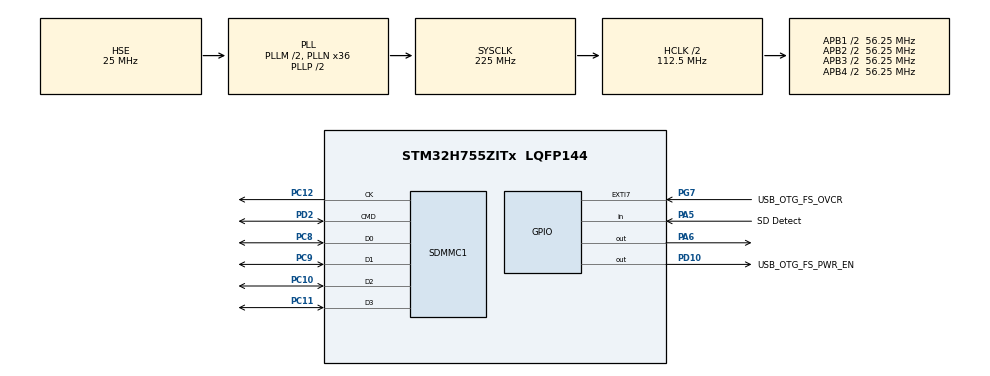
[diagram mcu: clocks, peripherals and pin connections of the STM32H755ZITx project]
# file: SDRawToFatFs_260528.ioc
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CORTEX_M7.AccessPermission-Cortex_Memory_Protection_Unit_Region0_Settings=MPU_REGION_FULL_ACCESS
CORTEX_M7.BaseAddress-Cortex_Memory_Protection_Unit_Region0_Settings=0x24000000
CORTEX_M7.CPU_DCache=Enabled
CORTEX_M7.CPU_ICache=Enabled
CORTEX_M7.DisableExec-Cortex_Memory_Protection_Unit_Region0_Settings=MPU_INSTRUCTION_ACCESS_DISABLE
CORTEX_M7.Enable-Cortex_Memory_Protection_Unit_Region0_Settings=MPU_REGION_ENABLE
CORTEX_M7.IsShareable-Cortex_Memory_Protection_Unit_Region0_Settings=MPU_ACCESS_SHAREABLE
CORTEX_M7.MPU_Control=MPU_HFNMI_PRIVDEF
CORTEX_M7.Size-Cortex_Memory_Protection_Unit_Region0_Settings=MPU_REGION_SIZE_64KB
CortexM4.IPs=FATFS_M4\:I,FREERTOS_M4\:I,IWDG2\:I,RCC,WWDG2\:I,DMA,BDMA,MDMA,NVIC2\:I,DEBUG,PDM2PCM_M4\:I,PWR,RESMGR_UTILITY,SYS_M4\:I,USB_DEVICE_M4\:I,USB_HOST_M4\:I,CORTEX_M4\:I,GPIO,OPENAMP_M4\:I,VREFBUF,NUCLEO-H755ZI-Q
CortexM7.IPs=FATFS_M7\:I,FREERTOS_M7\:I,IWDG1\:I,RCC\:I,WWDG1\:I,DMA\:I,BDMA\:I,MDMA\:I,NVIC1\:I,USB_OTG_FS\:I,USB_OTG_FS1\:I,SYS\:I,CORTEX_M7\:I,DEBUG\:I,PDM2PCM_M7\:I,PWR\:I,RESMGR_UTILITY\:I,USB_DEVICE_M7\:I,USB_HOST_M7\:I,GPIO\:I,OPENAMP_M7\:I,VREFBUF\:I,NUCLEO-H755ZI-Q\:I,SDMMC1\:I
CortexM7.Pins=PA5,PA6
FATFS.BSP.number=1
FATFS0.BSP.STBoard=false
FATFS0.BSP.api=Unknown
FATFS0.BSP.instance=PA5
FATFS0.BSP.ip=GPIO
FATFS0.BSP.mode=Input
FATFS0.BSP.name=Detect_SDIO
FATFS0.BSP.solution=PA5
FATFS_M7._USE_EXPAND=1
FATFS_M7._USE_FIND=1
FATFS_M7._USE_LFN=1
Mcu.Family=STM32H7
Mcu.Name=STM32H755ZITx
Mcu.Package=LQFP144
NUCLEO-H755ZI-Q.BUTTON=1
NUCLEO-H755ZI-Q.LD1=true
NUCLEO-H755ZI-Q.LD2=true
NUCLEO-H755ZI-Q.LD3=true
NUCLEO-H755ZI-Q.VCP=true
NVIC1.EXTI15_10_IRQn=true\:0\:0\:false\:false\:true\:false\:true\:true
NVIC1.PriorityGroup=NVIC_PRIORITYGROUP_4
NVIC1.SDMMC1_IRQn=true\:0\:0\:false\:false\:true\:true\:true\:true
NVIC2.PriorityGroup=NVIC_PRIORITYGROUP_4
PA1.PinAttribute=CortexM4
PA1.Signal=ETH_REF_CLK
PA11.PinAttribute=CortexM7
PA11.Signal=USB_OTG_FS_DM
PA12.PinAttribute=CortexM7
PA12.Signal=USB_OTG_FS_DP
PA2.PinAttribute=CortexM4
PA2.Signal=ETH_MDIO
PA5.GPIO_Label=SD Detect
PA5.PinAttribute=CortexM7
PA5.Signal=GPIO_Input
PA6.GPIO_Speed=GPIO_SPEED_FREQ_VERY_HIGH
PA6.PinAttribute=CortexM7
PA6.Signal=GPIO_Output
PA7.PinAttribute=CortexM4
PA7.Signal=ETH_CRS_DV
PA8.PinAttribute=CortexM7
PA8.Signal=USB_OTG_FS_SOF
PA9.PinAttribute=CortexM7
PA9.Signal=USB_OTG_FS_VBUS
PB13.PinAttribute=CortexM4
PB13.Signal=ETH_TXD1
PC1.PinAttribute=CortexM4
PC1.Signal=ETH_MDC
PC10.GPIO_PuPd=GPIO_PULLUP
PC10.Mode=SD_4_bits_Wide_bus
PC10.PinAttribute=CortexM7
PC10.Signal=SDMMC1_D2
PC11.GPIO_PuPd=GPIO_PULLUP
PC11.Mode=SD_4_bits_Wide_bus
PC11.PinAttribute=CortexM7
PC11.Signal=SDMMC1_D3
PC12.GPIO_PuPd=GPIO_PULLUP
PC12.Mode=SD_4_bits_Wide_bus
PC12.PinAttribute=CortexM7
PC12.Signal=SDMMC1_CK
PC14-OSC32_IN\ (OSC32_IN).PinAttribute=Free
PC14-OSC32_IN\ (OSC32_IN).Signal=RCC_OSC32_IN
PC15-OSC32_OUT\ (OSC32_OUT).PinAttribute=Free
PC15-OSC32_OUT\ (OSC32_OUT).Signal=RCC_OSC32_OUT
PC4.PinAttribute=CortexM4
PC4.Signal=ETH_RXD0
PC5.PinAttribute=CortexM4
PC5.Signal=ETH_RXD1
PC8.GPIO_PuPd=GPIO_PULLUP
PC8.Mode=SD_4_bits_Wide_bus
PC8.PinAttribute=CortexM7
PC8.Signal=SDMMC1_D0
PC9.GPIO_PuPd=GPIO_PULLUP
PC9.Mode=SD_4_bits_Wide_bus
PC9.PinAttribute=CortexM7
PC9.Signal=SDMMC1_D1
PD10.GPIO_Label=USB_OTG_FS_PWR_EN
PD10.PinAttribute=Free
PD10.Signal=GPIO_Output
PD2.GPIO_PuPd=GPIO_PULLUP
PD2.Mode=SD_4_bits_Wide_bus
PD2.PinAttribute=CortexM7
PD2.Signal=SDMMC1_CMD
PD8.Signal=USART3_TX
PD9.Signal=USART3_RX
PG11.PinAttribute=CortexM4
PG11.Signal=ETH_TX_EN
PG13.PinAttribute=CortexM4
PG13.Signal=ETH_TXD0
PG7.GPIO_Label=USB_OTG_FS_OVCR
PG7.PinAttribute=Free
PG7.Signal=GPXTI7
PH0-OSC_IN\ (PH0).Mode=HSE-External-Clock-Source
PH0-OSC_IN\ (PH0).PinAttribute=Free
PH0-OSC_IN\ (PH0).Signal=RCC_OSC_IN
PH1-OSC_OUT\ (PH1).PinAttribute=Free
PH1-OSC_OUT\ (PH1).Signal=RCC_OSC_OUT
ProjectManager.HeapSize=M4-0x200,M7-0x400
ProjectManager.StackSize=M4-0x400,M7-0x1000
ProjectManager.TargetToolchain=STM32CubeIDE
RCC.ADCFreq_Value=50390625
RCC.APB1Freq_Value=56250000
RCC.APB2Freq_Value=56250000
RCC.APB3Freq_Value=56250000
RCC.APB4Freq_Value=56250000
RCC.CortexFreq_Value=225000000
RCC.D1PPRE=RCC_APB3_DIV2
RCC.D2PPRE1=RCC_APB1_DIV2
RCC.D2PPRE2=RCC_APB2_DIV2
RCC.D3PPRE=RCC_APB4_DIV2
RCC.DIVM1=2
RCC.DIVN1=36
RCC.DIVQ1=3
RCC.HCLKFreq_Value=112500000
RCC.HPRE=RCC_HCLK_DIV2
RCC.PLL2FRACN=0
RCC.PLL3FRACN=0
RCC.PLLFRACN=0
RCC.PLLSourceVirtual=RCC_PLLSOURCE_HSE
RCC.RCC_TIM_PRescaler_Selection=RCC_TIMPRES_DESACTIVATED
RCC.SYSCLKFreq_VALUE=225000000
RCC.SYSCLKSource=RCC_SYSCLKSOURCE_PLLCLK
RCC.SupplySource=PWR_DIRECT_SMPS_SUPPLY
RCC.USBFreq_Value=150000000
SDMMC1.ClockDiv=4
SDMMC1.HardwareFlowControl=SDMMC_HARDWARE_FLOW_CONTROL_ENABLE
VP_FATFS_M7_VS_SDIO.Mode=SDIO
VP_NUCLEO-H755ZI-Q_VS_BSP_COMMON.Mode=COMMON
VP_SYS_M4_VS_Systick.Mode=SysTick
board=NUCLEO-H755ZI-Q

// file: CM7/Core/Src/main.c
/* USER CODE BEGIN Header */
/**
  ******************************************************************************
  * @file           : main.c
  * @brief          : Main program body
  ******************************************************************************
  * @attention
  *
  * Copyright (c) 2026 STMicroelectronics.
  * All rights reserved.
  *
  * This software is licensed under terms that can be found in the LICENSE file
  * in the root directory of this software component.
  * If no LICENSE file comes with this software, it is provided AS-IS.
  *
  ******************************************************************************
  */
/* USER CODE END Header */
#include "main.h"
#include "fatfs.h"

/* USER CODE BEGIN Includes */
#include "ff.h"
#include <stdio.h>
#include <string.h>
/* USER CODE END Includes */

/* USER CODE BEGIN PD */

/* DUAL_CORE_BOOT_SYNC_SEQUENCE: Define for dual core boot synchronization    */
/*                             demonstration code based on hardware semaphore */
/* This define is present in both CM7/CM4 projects                            */
/* To comment when developping/debugging on a single core                     */
#define DUAL_CORE_BOOT_SYNC_SEQUENCE

#if defined(DUAL_CORE_BOOT_SYNC_SEQUENCE)
#ifndef HSEM_ID_0
#define HSEM_ID_0 (0U) /* HW semaphore 0*/
#endif
#endif /* DUAL_CORE_BOOT_SYNC_SEQUENCE */

/* USER CODE END PD */

COM_InitTypeDef BspCOMInit;

SD_HandleTypeDef hsd1;

/* USER CODE BEGIN PV */
#define BUFFER_SIZE_BYTES     (32 * 1024)

#define SD_BLOCK_SIZE         512
#define SD_BLOCK_COUNT        (BUFFER_SIZE_BYTES / SD_BLOCK_SIZE)

#define START_SECTOR          0x1000

#define CHUNKS_PER_FILE       64    // 生成 約 1.7MB 大小的檔案，檔案內容資料有 32768 筆資料

#define MAX_FILES_TO_GENERATE 5   // 控制： 最多生成幾個檔案 方便測試。  5 -> 產生5個檔案

#define PAYLOAD_SIZE        54

#define PAYLOAD_BUFFER_SIZE \
    (RECORD_COUNT * PAYLOAD_SIZE)

#define RECORD_COUNT   (BUFFER_SIZE_BYTES / sizeof(log_record_t))

typedef struct
{
    uint8_t payload[PAYLOAD_SIZE];

    uint16_t tail;

    uint32_t record_id;

    uint32_t file_id;

} log_record_t;

FIL MyFile;

__attribute__((section(".RAM_D1")))
__attribute__((aligned(32)))
log_record_t read_buffer[RECORD_COUNT];

/*
--------------------------------------------------
高速 FATFS write buffer
512 records × 54 bytes
= 27648 bytes
--------------------------------------------------
*/
__attribute__((section(".RAM_D1")))
__attribute__((aligned(32)))
uint8_t payload_buffer[PAYLOAD_BUFFER_SIZE];

uint32_t current_sector;

volatile uint8_t sd_read_done = 0;
volatile uint8_t sd_read_error = 0;

/* USER CODE END PV */

void SystemClock_Config(void);
static void MPU_Config(void);
static void MX_GPIO_Init(void);
static void MX_SDMMC1_SD_Init(void);

/* USER CODE BEGIN 0 */

/*
每個 chunk 檢查： 512 records 是否： 全部都是合法 record
只要有：  tail != 0xAA55
代表： segment 結束
這樣：
  可以自動停止
  不必固定 64
  不怕不完整資料
  不怕 SD card 中斷
  不怕 reboot
*/

uint8_t ValidateChunk(void)
{
    uint32_t i;

    for(i = 0; i < RECORD_COUNT; i++)
    {
        if(read_buffer[i].tail != 0xAA55)
        {
            return 0;
        }
    }

    return 1;
}

void GenerateFatFsFile(uint32_t file_id)
{
    UINT bw;

    char filename[64];

    uint32_t chunk;

	uint32_t i;

    uint32_t payload_offset;

    current_sector =
        START_SECTOR +
        (file_id * CHUNKS_PER_FILE * SD_BLOCK_COUNT);

    sprintf(filename,
            "LOG%04lu.TXT",
            file_id);

    //PA6 HIGH 開始量測：  Raw Data -> FATFS 檔案生成總時間
    HAL_GPIO_WritePin(GPIOA,
                      GPIO_PIN_6,
                      GPIO_PIN_SET);

    // 建立 FATFS 檔案
    if(f_open(&MyFile,
              filename,
              FA_CREATE_ALWAYS | FA_WRITE) != FR_OK)
    {
        BSP_LED_On(LED_RED);
        while(1);
    }

    // 開始讀取 Raw Data
    for(chunk = 0; chunk < CHUNKS_PER_FILE; chunk++)
    {
        //DMA Read 32KB
        sd_read_done = 0;
        sd_read_error = 0;

        if(HAL_SD_ReadBlocks_DMA(&hsd1,
                                (uint8_t*)read_buffer,
                                current_sector,
                                SD_BLOCK_COUNT) != HAL_OK)
        {
            BSP_LED_On(LED_RED);
            while(1);
        }

        //等待 DMA 完成
        while(sd_read_done == 0)
        {
            if(sd_read_error)
            {
                BSP_LED_On(LED_RED);

                while(1);
            }
            BSP_LED_On(LED_YELLOW);
        }
        BSP_LED_Off(LED_YELLOW);

        while(HAL_SD_GetCardState(&hsd1) != HAL_SD_CARD_TRANSFER)
        {
          BSP_LED_On(LED_GREEN);
        }
        BSP_LED_Off(LED_GREEN);// 綠燈不亮，表示 Raw Data 很快讀取完成

        // D-Cache invalidate
        SCB_InvalidateDCache_by_Addr(
            (uint32_t*)read_buffer,
            BUFFER_SIZE_BYTES
        );

		if(ValidateChunk() == 0)
        {
            break;
        }

		payload_offset = 0;

        for(i = 0; i < RECORD_COUNT; i++)
        {
            memcpy(&payload_buffer[payload_offset],
                   read_buffer[i].payload,
                   PAYLOAD_SIZE);

            payload_offset += PAYLOAD_SIZE;
        }

        if(f_write(&MyFile,
                  payload_buffer,
                  payload_offset,
                  &bw) != FR_OK)
        {
            BSP_LED_On(LED_RED);
            while(1);
        }

        // 下一段 Raw Sector
        current_sector += SD_BLOCK_COUNT;
    }

    //關閉檔案
    f_close(&MyFile);

    // PA6 LOW   檔案完成
    HAL_GPIO_WritePin(GPIOA,
                      GPIO_PIN_6,
                      GPIO_PIN_RESET);

}

/* USER CODE END 0 */

int main(void)
{

/* USER CODE BEGIN Boot_Mode_Sequence_0 */
#if defined(DUAL_CORE_BOOT_SYNC_SEQUENCE)
  int32_t timeout;
#endif /* DUAL_CORE_BOOT_SYNC_SEQUENCE */
/* USER CODE END Boot_Mode_Sequence_0 */

  /* MPU Configuration--------------------------------------------------------*/
  MPU_Config();

  /* Enable the CPU Cache */

  /* Enable I-Cache---------------------------------------------------------*/
  SCB_EnableICache();

  /* Enable D-Cache---------------------------------------------------------*/
  SCB_EnableDCache();

/* USER CODE BEGIN Boot_Mode_Sequence_1 */
#if defined(DUAL_CORE_BOOT_SYNC_SEQUENCE)
  /* Wait until CPU2 boots and enters in stop mode or timeout*/
  timeout = 0xFFFF;
  while((__HAL_RCC_GET_FLAG(RCC_FLAG_D2CKRDY) != RESET) && (timeout-- > 0));
  if ( timeout < 0 )
  {
  Error_Handler();
  }
#endif /* DUAL_CORE_BOOT_SYNC_SEQUENCE */
/* USER CODE END Boot_Mode_Sequence_1 */
  /* MCU Configuration--------------------------------------------------------*/

  /* Reset of all peripherals, Initializes the Flash interface and the Systick. */
  HAL_Init();

  /* USER CODE BEGIN Init */

  /* Initialize leds */
  BSP_LED_Init(LED_GREEN);
  BSP_LED_Init(LED_YELLOW);
  BSP_LED_Init(LED_RED);
  /* USER CODE END Init */

  /* Configure the system clock */
  SystemClock_Config();
/* USER CODE BEGIN Boot_Mode_Sequence_2 */
#if defined(DUAL_CORE_BOOT_SYNC_SEQUENCE)
/* When system initialization is finished, Cortex-M7 will release Cortex-M4 by means of
HSEM notification */
/*HW semaphore Clock enable*/
__HAL_RCC_HSEM_CLK_ENABLE();
/*Take HSEM */
HAL_HSEM_FastTake(HSEM_ID_0);
/*Release HSEM in order to notify the CPU2(CM4)*/
HAL_HSEM_Release(HSEM_ID_0,0);
/* wait until CPU2 wakes up from stop mode */
timeout = 0xFFFF;
while((__HAL_RCC_GET_FLAG(RCC_FLAG_D2CKRDY) == RESET) && (timeout-- > 0));
if ( timeout < 0 )
{
Error_Handler();
}
#endif /* DUAL_CORE_BOOT_SYNC_SEQUENCE */
/* USER CODE END Boot_Mode_Sequence_2 */

  /* Initialize all configured peripherals */
  HAL_Delay(2000);

  MX_GPIO_Init();

  BSP_LED_On(LED_GREEN);
  HAL_Delay(500);
  BSP_LED_Off(LED_GREEN); // GPIO 初始化通過

  MX_SDMMC1_SD_Init();

  BSP_LED_On(LED_YELLOW);
  HAL_Delay(500);
  BSP_LED_Off(LED_YELLOW);// SDMMC1 初始化通過

  MX_FATFS_Init();

  BSP_LED_On(LED_RED);
  HAL_Delay(500);
  BSP_LED_Off(LED_RED);// FATFS 初始化通過

  /* Initialize USER push-button, will be used to trigger an interrupt each time it's pressed.*/
  BSP_PB_Init(BUTTON_USER, BUTTON_MODE_EXTI);

  /* Initialize COM1 port (115200, 8 bits (7-bit data + 1 stop bit), no parity */
  BspCOMInit.BaudRate   = 115200;
  BspCOMInit.WordLength = COM_WORDLENGTH_8B;
  BspCOMInit.StopBits   = COM_STOPBITS_1;
  BspCOMInit.Parity     = COM_PARITY_NONE;
  BspCOMInit.HwFlowCtl  = COM_HWCONTROL_NONE;
  if (BSP_COM_Init(COM1, &BspCOMInit) != BSP_ERROR_NONE)
  {
    Error_Handler();
  }

  /* Infinite loop */
  /* USER CODE BEGIN WHILE */
  while (1)
  {
    uint32_t file_id;

    if(f_mount(&SDFatFS,
               (TCHAR const*)SDPath,
               1) != FR_OK)
    {
        BSP_LED_On(LED_RED);
        while(1);
        Error_Handler();
    }
    /*
    // mount 成功綠燈亮 1 秒
    BSP_LED_On(LED_GREEN);
    HAL_Delay(1000);
    BSP_LED_Off(LED_GREEN);
    */

    for(file_id = 0; file_id < MAX_FILES_TO_GENERATE; file_id++)  // 想要生成幾個1.7MB檔案，檔案內容資料有 32768 筆資料，修改 MAX_FILES_TO_GENERATE 數值即可
    {
        GenerateFatFsFile(file_id);

        /*
        HAL_GPIO_WritePin(GPIOA,
                      GPIO_PIN_6,
                      GPIO_PIN_SET);

        HAL_Delay(50);

        HAL_GPIO_WritePin(GPIOA,
                          GPIO_PIN_6,
                          GPIO_PIN_RESET);

        HAL_Delay(50);
        // 每生成一個 TXT： PA6 pulse 一次。
        */
    }

    while(1)
    {
      /*
        HAL_GPIO_TogglePin(GPIOA, GPIO_PIN_6);

        HAL_Delay(30);
      */
    }
    /* USER CODE END WHILE */

  }
}

void SystemClock_Config(void)
{
  RCC_OscInitTypeDef RCC_OscInitStruct = {0};
  RCC_ClkInitTypeDef RCC_ClkInitStruct = {0};

  /** Supply configuration update enable
  */
  HAL_PWREx_ConfigSupply(PWR_DIRECT_SMPS_SUPPLY);

  /** Configure the main internal regulator output voltage
  */
  __HAL_PWR_VOLTAGESCALING_CONFIG(PWR_REGULATOR_VOLTAGE_SCALE2);

  while(!__HAL_PWR_GET_FLAG(PWR_FLAG_VOSRDY)) {}

  /** Initializes the RCC Oscillators according to the specified parameters
  * in the RCC_OscInitTypeDef structure.
  */
  RCC_OscInitStruct.OscillatorType = RCC_OSCILLATORTYPE_HSE;
  RCC_OscInitStruct.HSEState = RCC_HSE_BYPASS;
  RCC_OscInitStruct.PLL.PLLState = RCC_PLL_ON;
  RCC_OscInitStruct.PLL.PLLSource = RCC_PLLSOURCE_HSE;
  RCC_OscInitStruct.PLL.PLLM = 2;
  RCC_OscInitStruct.PLL.PLLN = 36;
  RCC_OscInitStruct.PLL.PLLP = 2;
  RCC_OscInitStruct.PLL.PLLQ = 3;
  RCC_OscInitStruct.PLL.PLLR = 2;
  RCC_OscInitStruct.PLL.PLLRGE = RCC_PLL1VCIRANGE_3;
  RCC_OscInitStruct.PLL.PLLVCOSEL = RCC_PLL1VCOWIDE;
  RCC_OscInitStruct.PLL.PLLFRACN = 0;
  if (HAL_RCC_OscConfig(&RCC_OscInitStruct) != HAL_OK)
  {
    Error_Handler();
  }

  /** Initializes the CPU, AHB and APB buses clocks
  */
  RCC_ClkInitStruct.ClockType = RCC_CLOCKTYPE_HCLK|RCC_CLOCKTYPE_SYSCLK
                              |RCC_CLOCKTYPE_PCLK1|RCC_CLOCKTYPE_PCLK2
                              |RCC_CLOCKTYPE_D3PCLK1|RCC_CLOCKTYPE_D1PCLK1;
  RCC_ClkInitStruct.SYSCLKSource = RCC_SYSCLKSOURCE_PLLCLK;
  RCC_ClkInitStruct.SYSCLKDivider = RCC_SYSCLK_DIV1;
  RCC_ClkInitStruct.AHBCLKDivider = RCC_HCLK_DIV2;
  RCC_ClkInitStruct.APB3CLKDivider = RCC_APB3_DIV2;
  RCC_ClkInitStruct.APB1CLKDivider = RCC_APB1_DIV2;
  RCC_ClkInitStruct.APB2CLKDivider = RCC_APB2_DIV2;
  RCC_ClkInitStruct.APB4CLKDivider = RCC_APB4_DIV2;

  if (HAL_RCC_ClockConfig(&RCC_ClkInitStruct, FLASH_LATENCY_2) != HAL_OK)
  {
    Error_Handler();
  }
}

static void MX_SDMMC1_SD_Init(void)
{

  hsd1.Instance = SDMMC1;
  hsd1.Init.ClockEdge = SDMMC_CLOCK_EDGE_RISING;
  hsd1.Init.ClockPowerSave = SDMMC_CLOCK_POWER_SAVE_DISABLE;
  hsd1.Init.BusWide = SDMMC_BUS_WIDE_4B;
  hsd1.Init.HardwareFlowControl = SDMMC_HARDWARE_FLOW_CONTROL_ENABLE;
  hsd1.Init.ClockDiv = 4;
  if (HAL_SD_Init(&hsd1) != HAL_OK)
  {
    Error_Handler();
  }
  /* USER CODE BEGIN SDMMC1_Init 2 */
  if (HAL_SD_ConfigWideBusOperation(&hsd1, SDMMC_BUS_WIDE_4B) != HAL_OK)
  {
      Error_Handler();
  }
  /* USER CODE END SDMMC1_Init 2 */

}

static void MX_GPIO_Init(void)
{
  GPIO_InitTypeDef GPIO_InitStruct = {0};

  /* GPIO Ports Clock Enable */
  __HAL_RCC_GPIOA_CLK_ENABLE();
  __HAL_RCC_GPIOC_CLK_ENABLE();
  __HAL_RCC_GPIOD_CLK_ENABLE();

  /*Configure GPIO pin Output Level */
  HAL_GPIO_WritePin(GPIOA, GPIO_PIN_6, GPIO_PIN_RESET);

  /*Configure GPIO pin : SD_Detect_Pin */
  GPIO_InitStruct.Pin = SD_Detect_Pin;
  GPIO_InitStruct.Mode = GPIO_MODE_INPUT;
  GPIO_InitStruct.Pull = GPIO_NOPULL;
  HAL_GPIO_Init(SD_Detect_GPIO_Port, &GPIO_InitStruct);

  /*Configure GPIO pin : PA6 */
  GPIO_InitStruct.Pin = GPIO_PIN_6;
  GPIO_InitStruct.Mode = GPIO_MODE_OUTPUT_PP;
  GPIO_InitStruct.Pull = GPIO_NOPULL;
  GPIO_InitStruct.Speed = GPIO_SPEED_FREQ_VERY_HIGH;
  HAL_GPIO_Init(GPIOA, &GPIO_InitStruct);

  /*Configure GPIO pins : PA8 PA11 PA12 */
  GPIO_InitStruct.Pin = GPIO_PIN_8|GPIO_PIN_11|GPIO_PIN_12;
  GPIO_InitStruct.Mode = GPIO_MODE_AF_PP;
  GPIO_InitStruct.Pull = GPIO_NOPULL;
  GPIO_InitStruct.Speed = GPIO_SPEED_FREQ_LOW;
  GPIO_InitStruct.Alternate = GPIO_AF10_OTG1_FS;
  HAL_GPIO_Init(GPIOA, &GPIO_InitStruct);

}

 /* MPU Configuration */

void MPU_Config(void)
{
  MPU_Region_InitTypeDef MPU_InitStruct = {0};

  /* Disables the MPU */
  HAL_MPU_Disable();

  /** Initializes and configures the Region and the memory to be protected
  */
  MPU_InitStruct.Enable = MPU_REGION_ENABLE;
  MPU_InitStruct.Number = MPU_REGION_NUMBER0;
  MPU_InitStruct.BaseAddress = 0x24000000;
  MPU_InitStruct.Size = MPU_REGION_SIZE_256KB;
  MPU_InitStruct.SubRegionDisable = 0x0;
  MPU_InitStruct.TypeExtField = MPU_TEX_LEVEL0;
  MPU_InitStruct.AccessPermission = MPU_REGION_FULL_ACCESS;
  MPU_InitStruct.DisableExec = MPU_INSTRUCTION_ACCESS_DISABLE;
  MPU_InitStruct.IsShareable = MPU_ACCESS_SHAREABLE;
  MPU_InitStruct.IsCacheable = MPU_ACCESS_NOT_CACHEABLE;
  MPU_InitStruct.IsBufferable = MPU_ACCESS_NOT_BUFFERABLE;

  HAL_MPU_ConfigRegion(&MPU_InitStruct);
  /* Enables the MPU */
  HAL_MPU_Enable(MPU_HFNMI_PRIVDEF);

}

void Error_Handler(void)
{
  __disable_irq();
  while (1)
  {
  }
}
